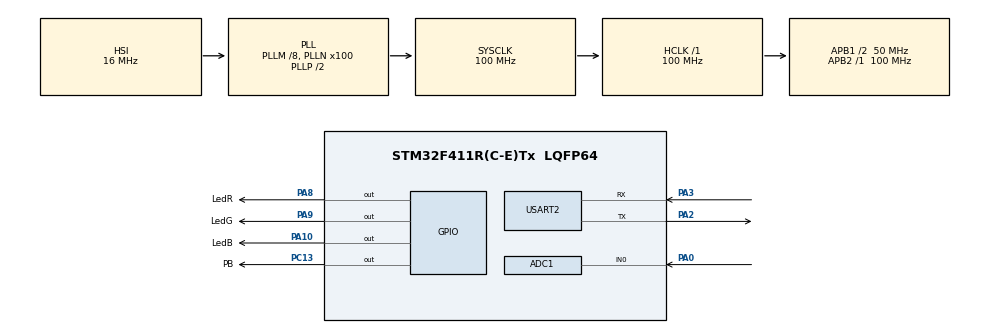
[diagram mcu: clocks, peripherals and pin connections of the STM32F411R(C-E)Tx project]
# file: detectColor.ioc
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ADC1.Channel-0\#ChannelRegularConversion=ADC_CHANNEL_0
ADC1.ContinuousConvMode=ENABLE
ADC1.DMAContinuousRequests=ENABLE
ADC1.NbrOfConversionFlag=1
ADC1.Rank-0\#ChannelRegularConversion=1
ADC1.SamplingTime-0\#ChannelRegularConversion=ADC_SAMPLETIME_28CYCLES
ADC1.master=1
Dma.ADC1.0.Direction=DMA_PERIPH_TO_MEMORY
Dma.ADC1.0.FIFOMode=DMA_FIFOMODE_DISABLE
Dma.ADC1.0.Instance=DMA2_Stream0
Dma.ADC1.0.MemDataAlignment=DMA_MDATAALIGN_HALFWORD
Dma.ADC1.0.MemInc=DMA_MINC_ENABLE
Dma.ADC1.0.Mode=DMA_CIRCULAR
Dma.ADC1.0.PeriphDataAlignment=DMA_PDATAALIGN_HALFWORD
Dma.ADC1.0.PeriphInc=DMA_PINC_DISABLE
Dma.ADC1.0.Priority=DMA_PRIORITY_LOW
Dma.Request0=ADC1
Mcu.Family=STM32F4
Mcu.Name=STM32F411R(C-E)Tx
Mcu.Package=LQFP64
NVIC.DMA2_Stream0_IRQn=true\:0\:0\:false\:false\:true\:false\:true\:true
NVIC.PriorityGroup=NVIC_PRIORITYGROUP_4
NVIC.USART2_IRQn=true\:0\:0\:false\:false\:true\:true\:true\:true
PA0-WKUP.Signal=ADCx_IN0
PA10.GPIO_Label=LedB
PA10.Signal=GPIO_Output
PA2.Mode=Asynchronous
PA2.Signal=USART2_TX
PA3.Mode=Asynchronous
PA3.Signal=USART2_RX
PA8.GPIO_Label=LedR
PA8.Signal=GPIO_Output
PA9.GPIO_Label=LedG
PA9.Signal=GPIO_Output
PC13-ANTI_TAMP.GPIO_Label=PB
PC13-ANTI_TAMP.Signal=GPIO_Output
ProjectManager.HeapSize=0x200
ProjectManager.StackSize=0x400
ProjectManager.TargetToolchain=STM32CubeIDE
RCC.48MHZClocksFreq_Value=50000000
RCC.AHBFreq_Value=100000000
RCC.APB1CLKDivider=RCC_HCLK_DIV2
RCC.APB1Freq_Value=50000000
RCC.APB1TimFreq_Value=100000000
RCC.APB2Freq_Value=100000000
RCC.APB2TimFreq_Value=100000000
RCC.CortexFreq_Value=100000000
RCC.HCLKFreq_Value=100000000
RCC.HSE_VALUE=25000000
RCC.HSI_VALUE=16000000
RCC.LSE_VALUE=32768
RCC.PLLM=8
RCC.PLLN=100
RCC.SYSCLKFreq_VALUE=100000000
RCC.SYSCLKSource=RCC_SYSCLKSOURCE_PLLCLK
RCC.VCOOutputFreq_Value=200000000
SH.ADCx_IN0.0=ADC1_IN0,IN0
TIM11.Prescaler=100-1
USART2.VirtualMode=VM_ASYNC
VP_TIM11_VS_ClockSourceINT.Mode=Enable_Timer
board=custom

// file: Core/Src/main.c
/* USER CODE BEGIN Header */
/**
  ******************************************************************************
  * @file           : main.c
  * @brief          : Main program body
  ******************************************************************************
  * @attention
  *
  * Copyright (c) 2024 STMicroelectronics.
  * All rights reserved.
  *
  * This software is licensed under terms that can be found in the LICENSE file
  * in the root directory of this software component.
  * If no LICENSE file comes with this software, it is provided AS-IS.
  *
  ******************************************************************************
  */
/* USER CODE END Header */
#include "main.h"

/* USER CODE BEGIN Includes */
#include "uart.h"
#include <stdio.h>
#include <stdbool.h>
/* USER CODE END Includes */

ADC_HandleTypeDef hadc1;
DMA_HandleTypeDef hdma_adc1;

TIM_HandleTypeDef htim11;

UART_HandleTypeDef huart2;

void SystemClock_Config(void);
static void MX_GPIO_Init(void);
static void MX_DMA_Init(void);
static void MX_ADC1_Init(void);
static void MX_USART2_UART_Init(void);
static void MX_TIM11_Init(void);

/* USER CODE BEGIN 0 */
uint16_t adcValue;
long map(long x, long in_min, long in_max, long out_min, long out_max) {
  return (x - in_min) * (out_max - out_min) / (in_max - in_min) + out_min;
}

void delayUs(uint16_t time){
	htim11.Instance->CNT=0;
	while(htim11.Instance->CNT < time);
}
void launchDetectColor(){
	//off led
	HAL_GPIO_WritePin(LedR_GPIO_Port, LedR_Pin, 0);
	HAL_GPIO_WritePin(LedR_GPIO_Port, LedG_Pin, 0);
	HAL_GPIO_WritePin(LedR_GPIO_Port, LedB_Pin, 0);
	//getR`
	HAL_GPIO_WritePin(LedR_GPIO_Port, LedR_Pin, 1);
	delayUs(1);
	uint16_t valueR =adcValue;
	HAL_GPIO_WritePin(LedR_GPIO_Port, LedR_Pin, 0);
	//getG
	HAL_GPIO_WritePin(LedG_GPIO_Port, LedG_Pin, 1);
  delayUs(1);
	uint16_t valueG =adcValue;
	HAL_GPIO_WritePin(LedG_GPIO_Port, LedG_Pin, 0);
	//getB
	HAL_GPIO_WritePin(LedB_GPIO_Port, LedB_Pin, 1);
	delayUs(1);
	uint16_t valueB =adcValue;
	HAL_GPIO_WritePin(LedB_GPIO_Port, LedB_Pin, 0);
	printf("%d, %d, %d\n",
			map(valueR, 0, 4095, 255, 0),
			map(valueG, 0, 4095, 255, 0),
			map(valueB, 0, 4095, 255, 0));
}

/* USER CODE END 0 */

int main(void)
{

  /* MCU Configuration--------------------------------------------------------*/

  /* Reset of all peripherals, Initializes the Flash interface and the Systick. */
  HAL_Init();

  /* Configure the system clock */
  SystemClock_Config();

  /* Initialize all configured peripherals */
  MX_GPIO_Init();
  MX_DMA_Init();
  MX_ADC1_Init();
  MX_USART2_UART_Init();
  MX_TIM11_Init();
  /* USER CODE BEGIN 2 */
  HAL_ADC_Start_DMA(&hadc1, (uint32_t *)&adcValue, 1); //length=adcvalue
  HAL_TIM_Base_Start(&htim11);
  initUart(&huart2);
  /* USER CODE END 2 */

  /* Infinite loop */
  /* USER CODE BEGIN WHILE */
  while (1)
  {
//  	static bool oldSwitch, curSwitch;
//  	curSwitch = HAL_GPIO_ReadPin(PB_GPIO_Port, PB_Pin);
//  	if(oldSwitch != curSwitch){
//  		if(curSwitch == 0){
//  			launchDetectColor();
//  		}
//  		oldSwitch = curSwitch;
//  	}
  	launchDetectColor();
  	HAL_Delay(100);
//  	if(HAL_GPIO_ReadPin(PB_GPIO_Port, PB_Pin)==0)
//  		launchDetectColor();
    /* USER CODE END WHILE */

  }
}

void SystemClock_Config(void)
{
  RCC_OscInitTypeDef RCC_OscInitStruct = {0};
  RCC_ClkInitTypeDef RCC_ClkInitStruct = {0};

  /** Configure the main internal regulator output voltage
  */
  __HAL_RCC_PWR_CLK_ENABLE();
  __HAL_PWR_VOLTAGESCALING_CONFIG(PWR_REGULATOR_VOLTAGE_SCALE1);

  /** Initializes the RCC Oscillators according to the specified parameters
  * in the RCC_OscInitTypeDef structure.
  */
  RCC_OscInitStruct.OscillatorType = RCC_OSCILLATORTYPE_HSI;
  RCC_OscInitStruct.HSIState = RCC_HSI_ON;
  RCC_OscInitStruct.HSICalibrationValue = RCC_HSICALIBRATION_DEFAULT;
  RCC_OscInitStruct.PLL.PLLState = RCC_PLL_ON;
  RCC_OscInitStruct.PLL.PLLSource = RCC_PLLSOURCE_HSI;
  RCC_OscInitStruct.PLL.PLLM = 8;
  RCC_OscInitStruct.PLL.PLLN = 100;
  RCC_OscInitStruct.PLL.PLLP = RCC_PLLP_DIV2;
  RCC_OscInitStruct.PLL.PLLQ = 4;
  if (HAL_RCC_OscConfig(&RCC_OscInitStruct) != HAL_OK)
  {
    Error_Handler();
  }

  /** Initializes the CPU, AHB and APB buses clocks
  */
  RCC_ClkInitStruct.ClockType = RCC_CLOCKTYPE_HCLK|RCC_CLOCKTYPE_SYSCLK
                              |RCC_CLOCKTYPE_PCLK1|RCC_CLOCKTYPE_PCLK2;
  RCC_ClkInitStruct.SYSCLKSource = RCC_SYSCLKSOURCE_PLLCLK;
  RCC_ClkInitStruct.AHBCLKDivider = RCC_SYSCLK_DIV1;
  RCC_ClkInitStruct.APB1CLKDivider = RCC_HCLK_DIV2;
  RCC_ClkInitStruct.APB2CLKDivider = RCC_HCLK_DIV1;

  if (HAL_RCC_ClockConfig(&RCC_ClkInitStruct, FLASH_LATENCY_3) != HAL_OK)
  {
    Error_Handler();
  }
}

static void MX_ADC1_Init(void)
{

  ADC_ChannelConfTypeDef sConfig = {0};

  /** Configure the global features of the ADC (Clock, Resolution, Data Alignment and number of conversion)
  */
  hadc1.Instance = ADC1;
  hadc1.Init.ClockPrescaler = ADC_CLOCK_SYNC_PCLK_DIV4;
  hadc1.Init.Resolution = ADC_RESOLUTION_12B;
  hadc1.Init.ScanConvMode = DISABLE;
  hadc1.Init.ContinuousConvMode = ENABLE;
  hadc1.Init.DiscontinuousConvMode = DISABLE;
  hadc1.Init.ExternalTrigConvEdge = ADC_EXTERNALTRIGCONVEDGE_NONE;
  hadc1.Init.ExternalTrigConv = ADC_SOFTWARE_START;
  hadc1.Init.DataAlign = ADC_DATAALIGN_RIGHT;
  hadc1.Init.NbrOfConversion = 1;
  hadc1.Init.DMAContinuousRequests = ENABLE;
  hadc1.Init.EOCSelection = ADC_EOC_SINGLE_CONV;
  if (HAL_ADC_Init(&hadc1) != HAL_OK)
  {
    Error_Handler();
  }

  /** Configure for the selected ADC regular channel its corresponding rank in the sequencer and its sample time.
  */
  sConfig.Channel = ADC_CHANNEL_0;
  sConfig.Rank = 1;
  sConfig.SamplingTime = ADC_SAMPLETIME_28CYCLES;
  if (HAL_ADC_ConfigChannel(&hadc1, &sConfig) != HAL_OK)
  {
    Error_Handler();
  }

}

static void MX_TIM11_Init(void)
{

  htim11.Instance = TIM11;
  htim11.Init.Prescaler = 100-1;
  htim11.Init.CounterMode = TIM_COUNTERMODE_UP;
  htim11.Init.Period = 65535;
  htim11.Init.ClockDivision = TIM_CLOCKDIVISION_DIV1;
  htim11.Init.AutoReloadPreload = TIM_AUTORELOAD_PRELOAD_DISABLE;
  if (HAL_TIM_Base_Init(&htim11) != HAL_OK)
  {
    Error_Handler();
  }

}

static void MX_USART2_UART_Init(void)
{

  huart2.Instance = USART2;
  huart2.Init.BaudRate = 115200;
  huart2.Init.WordLength = UART_WORDLENGTH_8B;
  huart2.Init.StopBits = UART_STOPBITS_1;
  huart2.Init.Parity = UART_PARITY_NONE;
  huart2.Init.Mode = UART_MODE_TX_RX;
  huart2.Init.HwFlowCtl = UART_HWCONTROL_NONE;
  huart2.Init.OverSampling = UART_OVERSAMPLING_16;
  if (HAL_UART_Init(&huart2) != HAL_OK)
  {
    Error_Handler();
  }

}

static void MX_DMA_Init(void)
{

  /* DMA controller clock enable */
  __HAL_RCC_DMA2_CLK_ENABLE();

  /* DMA interrupt init */
  /* DMA2_Stream0_IRQn interrupt configuration */
  HAL_NVIC_SetPriority(DMA2_Stream0_IRQn, 0, 0);
  HAL_NVIC_EnableIRQ(DMA2_Stream0_IRQn);

}

static void MX_GPIO_Init(void)
{
  GPIO_InitTypeDef GPIO_InitStruct = {0};

  /* GPIO Ports Clock Enable */
  __HAL_RCC_GPIOC_CLK_ENABLE();
  __HAL_RCC_GPIOA_CLK_ENABLE();

  /*Configure GPIO pin Output Level */
  HAL_GPIO_WritePin(PB_GPIO_Port, PB_Pin, GPIO_PIN_RESET);

  /*Configure GPIO pin Output Level */
  HAL_GPIO_WritePin(GPIOA, LedR_Pin|LedG_Pin|LedB_Pin, GPIO_PIN_RESET);

  /*Configure GPIO pin : PB_Pin */
  GPIO_InitStruct.Pin = PB_Pin;
  GPIO_InitStruct.Mode = GPIO_MODE_OUTPUT_PP;
  GPIO_InitStruct.Pull = GPIO_NOPULL;
  GPIO_InitStruct.Speed = GPIO_SPEED_FREQ_LOW;
  HAL_GPIO_Init(PB_GPIO_Port, &GPIO_InitStruct);

  /*Configure GPIO pins : LedR_Pin LedG_Pin LedB_Pin */
  GPIO_InitStruct.Pin = LedR_Pin|LedG_Pin|LedB_Pin;
  GPIO_InitStruct.Mode = GPIO_MODE_OUTPUT_PP;
  GPIO_InitStruct.Pull = GPIO_NOPULL;
  GPIO_InitStruct.Speed = GPIO_SPEED_FREQ_LOW;
  HAL_GPIO_Init(GPIOA, &GPIO_InitStruct);

}

void Error_Handler(void)
{
  __disable_irq();
  while (1)
  {
  }
}
